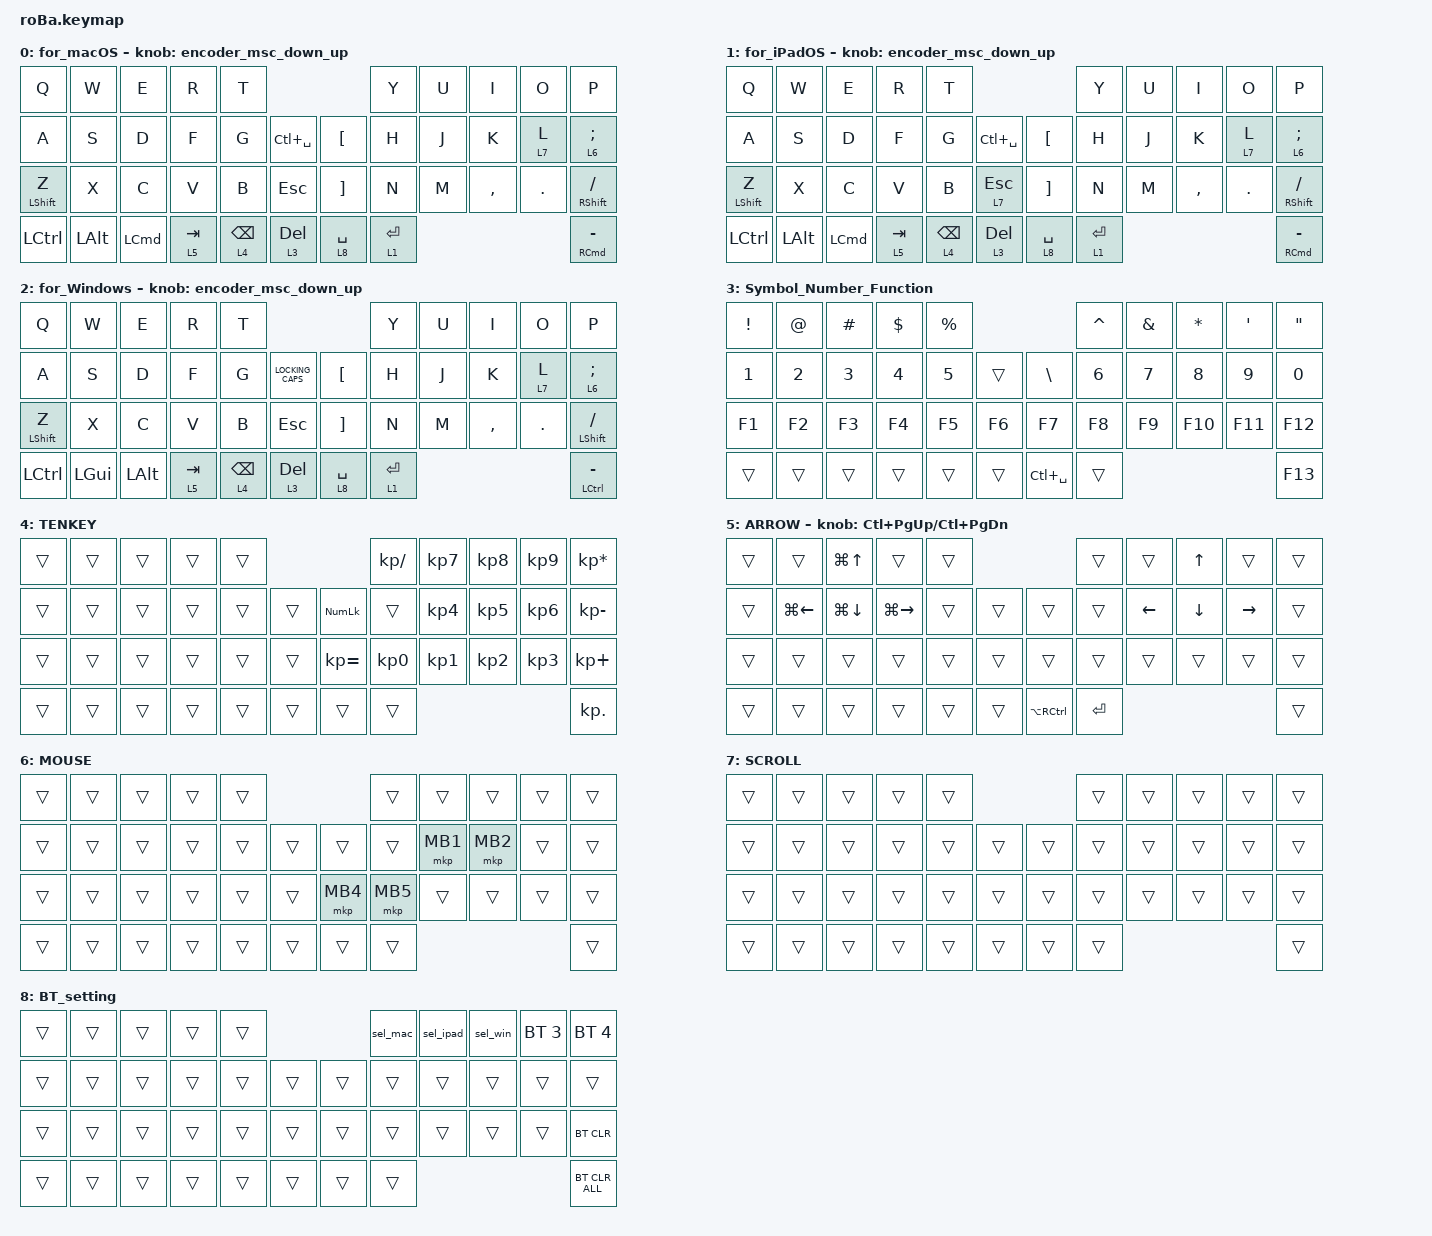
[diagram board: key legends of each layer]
#include <behaviors.dtsi>
#include <dt-bindings/zmk/bt.h>
#include <dt-bindings/zmk/keys.h>
#include <dt-bindings/zmk/pointing.h>

#define ZMK_POINTING_DEFAULT_SCRL_VAL 80

&mt {
    flavor = "balanced";
    quick-tap-ms = <0>;
};

&trackball {
    automouse-layer = <6>;
    scroll-layers = <7>;

    // arrows {
    //     layers = <5>;
    //     bindings =
    //         <&kp RIGHT_ARROW>,
    //         <&kp LEFT_ARROW>,
    //         <&kp UP_ARROW>,
    //         <&kp DOWN_ARROW>;
    //     tick = <10>;
    //     wait-ms = <5>;
    //     tap-ms = <5>;
    // };
};

/ {
    combos { compatible = "zmk,combos"; };

    macros {
        to_layer_0: to_layer_0 {
            compatible = "zmk,behavior-macro-one-param";
            #binding-cells = <1>;
            bindings = <&to 0 &macro_param_1to1 &kp MACRO_PLACEHOLDER>;
            label = "TO_LAYER_0";
        };

        // Mac用: プロファイル0を選択し、レイヤー0(for_macOS)へ

        sel_mac: sel_mac {
            compatible = "zmk,behavior-macro";
            #binding-cells = <0>;
            bindings = <&bt BT_SEL 0 &to 0>;
        };

        // iPad用: プロファイル1を選択し、レイヤー1(for_iPadOS)へ

        sel_ipad: sel_ipad {
            compatible = "zmk,behavior-macro";
            #binding-cells = <0>;
            bindings = <&bt BT_SEL 1 &to 1>;
        };

        // Windows用: プロファイル2を選択し、レイヤー2(for_Windows)へ

        sel_win: sel_win {
            compatible = "zmk,behavior-macro";
            #binding-cells = <0>;
            bindings = <&bt BT_SEL 2 &to 2>;
        };
    };

    behaviors {
        lt_to_layer_0: lt_to_layer_0 {
            compatible = "zmk,behavior-hold-tap";
            label = "LAYER_TAP_TO_0";
            bindings = <&mo>, <&to_layer_0>;

            #binding-cells = <2>;
            tapping-term-ms = <200>;
        };

        encoder_msc_down_up: encoder_msc_down_up {
            compatible = "zmk,behavior-sensor-rotate";
            label = "ENCODER_MSC_DOWN_UP";
            #sensor-binding-cells = <0>;
            bindings = <&msc SCRL_DOWN>, <&msc SCRL_UP>;

            tap-ms = <20>;
        };
    };

    keymap {
        compatible = "zmk,keymap";

        for_macOS {
            bindings = <
&kp Q             &kp W         &kp E             &kp R                 &kp T                                                            &kp Y        &kp U  &kp I      &kp O    &kp P
&kp A             &kp S         &kp D             &kp F                 &kp G            &kp LC(SPACE)                &kp LEFT_BRACKET   &kp H        &kp J  &kp K      &lt 7 L  &lt 6 SEMICOLON
&mt LEFT_SHIFT Z  &kp X         &kp C             &kp V                 &kp B            &kp ESC                      &kp RIGHT_BRACKET  &kp N        &kp M  &kp COMMA  &kp DOT  &mt RIGHT_SHIFT SLASH
&kp LCTRL         &kp LEFT_ALT  &kp LEFT_COMMAND  &lt_to_layer_0 5 TAB  &lt 4 BACKSPACE  &lt_to_layer_0 3 DELETE      &lt 8 SPACE        &lt 1 ENTER                             &mt RIGHT_COMMAND MINUS
            >;

            sensor-bindings = <&encoder_msc_down_up>;
        };

        for_iPadOS {
            bindings = <
&kp Q             &kp W         &kp E             &kp R                 &kp T                                                            &kp Y        &kp U  &kp I      &kp O    &kp P
&kp A             &kp S         &kp D             &kp F                 &kp G            &kp LC(SPACE)                &kp LEFT_BRACKET   &kp H        &kp J  &kp K      &lt 7 L  &lt 6 SEMICOLON
&mt LEFT_SHIFT Z  &kp X         &kp C             &kp V                 &kp B            &lt 7 ESC                    &kp RIGHT_BRACKET  &kp N        &kp M  &kp COMMA  &kp DOT  &mt RIGHT_SHIFT SLASH
&kp LCTRL         &kp LEFT_ALT  &kp LEFT_COMMAND  &lt_to_layer_0 5 TAB  &lt 4 BACKSPACE  &lt_to_layer_0 3 DELETE      &lt 8 SPACE        &lt 1 ENTER                             &mt RIGHT_COMMAND MINUS
            >;

            sensor-bindings = <&encoder_msc_down_up>;
        };

        for_Windows {
            bindings = <
&kp Q             &kp W         &kp E         &kp R                 &kp T                                                            &kp Y        &kp U  &kp I      &kp O    &kp P
&kp A             &kp S         &kp D         &kp F                 &kp G            &kp LOCKING_CAPS             &kp LEFT_BRACKET   &kp H        &kp J  &kp K      &lt 7 L  &lt 6 SEMICOLON
&mt LEFT_SHIFT Z  &kp X         &kp C         &kp V                 &kp B            &kp ESC                      &kp RIGHT_BRACKET  &kp N        &kp M  &kp COMMA  &kp DOT  &mt LEFT_SHIFT SLASH
&kp LEFT_CONTROL  &kp LEFT_GUI  &kp LEFT_ALT  &lt_to_layer_0 5 TAB  &lt 4 BACKSPACE  &lt_to_layer_0 3 DELETE      &lt 8 SPACE        &lt 1 ENTER                             &mt LEFT_CONTROL MINUS
            >;

            sensor-bindings = <&encoder_msc_down_up>;
        };

        Symbol_Number_Function {
            bindings = <
&kp EXCL      &kp AT        &kp HASH      &kp DLLR      &kp PRCNT                                &kp CARET     &kp AMPS      &kp STAR      &kp SINGLE_QUOTE  &kp DOUBLE_QUOTES
&kp NUMBER_1  &kp NUMBER_2  &kp NUMBER_3  &kp NUMBER_4  &kp NUMBER_5  &trans      &kp BACKSLASH  &kp NUMBER_6  &kp NUMBER_7  &kp NUMBER_8  &kp NUMBER_9      &kp NUMBER_0
&kp F1        &kp F2        &kp F3        &kp F4        &kp F5        &kp F6      &kp F7         &kp F8        &kp F9        &kp F10       &kp F11           &kp F12
&trans        &trans        &trans        &trans        &trans        &trans      &kp LC(SPACE)  &trans                                                      &kp F13
            >;
        };

        TENKEY {
            bindings = <
&trans  &trans  &trans  &trans  &trans                              &kp KP_DIVIDE    &kp KP_NUMBER_7  &kp KP_NUMBER_8  &kp KP_NUMBER_9  &kp KP_ASTERISK
&trans  &trans  &trans  &trans  &trans  &trans      &kp KP_NUMLOCK  &trans           &kp KP_NUMBER_4  &kp KP_NUMBER_5  &kp KP_NUMBER_6  &kp KP_MINUS
&trans  &trans  &trans  &trans  &trans  &trans      &kp KP_EQUAL    &kp KP_NUMBER_0  &kp KP_NUMBER_1  &kp KP_NUMBER_2  &kp KP_NUMBER_3  &kp KP_PLUS
&trans  &trans  &trans  &trans  &trans  &trans      &trans          &trans                                                              &kp KP_DOT
            >;
        };

        ARROW {
            bindings = <
&trans  &trans              &kp LG(UP_ARROW)    &trans               &trans                                     &trans   &trans    &kp UP_ARROW    &trans           &trans
&trans  &kp LG(LEFT_ARROW)  &kp LG(DOWN_ARROW)  &kp LG(RIGHT_ARROW)  &trans  &trans      &trans                 &trans   &kp LEFT  &kp DOWN_ARROW  &kp RIGHT_ARROW  &trans
&trans  &trans              &trans              &trans               &trans  &trans      &trans                 &trans   &trans    &trans          &trans           &trans
&trans  &trans              &trans              &trans               &trans  &trans      &kp LA(RIGHT_CONTROL)  &kp RET                                             &trans
            >;

            sensor-bindings = <&inc_dec_kp LC(PAGE_UP) LC(PAGE_DOWN)>;
        };

        MOUSE {
            bindings = <
&trans  &trans  &trans  &trans  &trans                        &trans    &trans    &trans    &trans  &trans
&trans  &trans  &trans  &trans  &trans  &trans      &trans    &trans    &mkp MB1  &mkp MB2  &trans  &trans
&trans  &trans  &trans  &trans  &trans  &trans      &mkp MB4  &mkp MB5  &trans    &trans    &trans  &trans
&trans  &trans  &trans  &trans  &trans  &trans      &trans    &trans                                &trans
            >;
        };

        SCROLL {
            bindings = <
&trans  &trans  &trans  &trans  &trans                      &trans  &trans  &trans  &trans  &trans
&trans  &trans  &trans  &trans  &trans  &trans      &trans  &trans  &trans  &trans  &trans  &trans
&trans  &trans  &trans  &trans  &trans  &trans      &trans  &trans  &trans  &trans  &trans  &trans
&trans  &trans  &trans  &trans  &trans  &trans      &trans  &trans                          &trans
            >;
        };

        BT_setting {
            bindings = <
&trans  &trans  &trans  &trans  &trans                      &sel_mac  &sel_ipad  &sel_win  &bt BT_SEL 3  &bt BT_SEL 4
&trans  &trans  &trans  &trans  &trans  &trans      &trans  &trans    &trans     &trans    &trans        &trans
&trans  &trans  &trans  &trans  &trans  &trans      &trans  &trans    &trans     &trans    &trans        &bt BT_CLR
&trans  &trans  &trans  &trans  &trans  &trans      &trans  &trans                                       &bt BT_CLR_ALL
            >;
        };
    };
};
